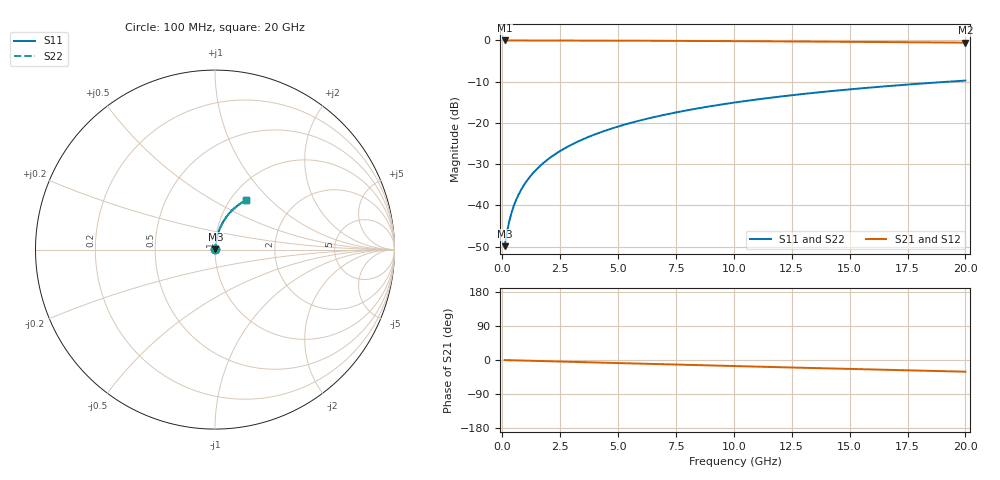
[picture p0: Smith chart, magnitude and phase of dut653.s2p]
! Touchstone file exported from HFSS 2026.1.0
!  File:  C:/ffzhzh/LocalFiles/Ansys_Project_Files/temp_train_BSMRDL_653_1783017001_53980.aedt
!  Generated:  02:31:41 AM Jul  3, 2026
!  Design:  BSMRDL
!  Project:  temp_train_BSMRDL_653_1783017001_53980
! Variables:
!  h_bsmrdl = 2.58um
!  h_ox = 20um
!  h_rdl = 5um
!  h_sub = 80um
!  h_tmrdl = 5um
!  h_tsv = 80um
!  h_via = 3um
!  l_bsmrdl = 389.87um
!  l_sub = 789.87um
!  l_tmrdl = 200um
!  m_sub = 200um
!  pitch = 57.14um
!  r_tsv = 6um
!  s_tmrdl = 10um
!  w_bsmrdl = 24um
!  w_sub = 500um
!  w_tmrdl = 12um
!  x_tsv_center1 = 206um
!  x_tsv_center2 = 619.87um
!  x_tsv_center3 = 831.87um
!  x_tsv_center4 = 1245.74um
!  x_tsv_center5 = 1457.74um
!  x_tsv_center6 = 1871.61um
# GHz S MA R 50.000000
! Terminal data exported
! Port[1] = BSM_RDL1_1_T1
! Port[2] = BSM_RDL1_1_T2
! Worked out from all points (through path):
!   200 points, 100 MHz to 20 GHz, reference 50 ohm
!   highest |S21| = -0.02 dB at 100 MHz (marker M1); lowest = -0.6 dB at 20 GHz (marker M2)
!   group delay of S21, straight-line fit = 4.29 ps
!   lowest |S11| = -49.9 dB at 100 MHz (marker M3), VSWR 1.01, Z = 50.3 + j0.197 ohm
!   |S11| at or under -10 dB: start of sweep to 19.3 GHz
!   |S22| runs from -49.9 to -9.7 dB; largest |S21 - S12| = 3.4e-15
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0.1  0.003206 37.8  0.9975 -0.2  0.9975 -0.2  0.003206 37.8
! Gamma 0 0 0 0
! Port Impedance 50 0 50 0
0.2  0.004701 56.0  0.9974 -0.3  0.9974 -0.3  0.004701 56.0
0.3  0.006411 64.5  0.9973 -0.5  0.9973 -0.5  0.006411 64.5
0.4  0.008171 69.2  0.9972 -0.7  0.9972 -0.7  0.008171 69.2
0.5  0.009939 72.2  0.9971 -0.8  0.9971 -0.8  0.009939 72.2
0.6  0.01171 74.3  0.997 -1.0  0.997 -1.0  0.01171 74.3
0.8  0.01524 77.0  0.9968 -1.3  0.9968 -1.3  0.01524 77.0
1.1  0.02057 79.2  0.9966 -1.8  0.9966 -1.8  0.02057 79.2
1.3  0.02413 80.1  0.9965 -2.1  0.9965 -2.1  0.02413 80.1
1.6  0.0295 80.9  0.9963 -2.6  0.9963 -2.6  0.0295 80.9
2.1  0.03847 81.5  0.9959 -3.4  0.9959 -3.4  0.03847 81.5
2.7  0.04924 81.5  0.9953 -4.4  0.9953 -4.4  0.04924 81.5
3.5  0.06358 81.0  0.9944 -5.7  0.9944 -5.7  0.06358 81.0
4.2  0.07608 80.3  0.9933 -6.8  0.9933 -6.8  0.07608 80.4
5  0.09027 79.4  0.992 -8.1  0.992 -8.1  0.09027 79.4
5.9  0.1061 78.2  0.9902 -9.5  0.9902 -9.5  0.1061 78.2
6.8  0.1218 77.0  0.9881 -11.0  0.9881 -11.0  0.1218 77.0
8.3  0.1475 74.8  0.9842 -13.3  0.9842 -13.3  0.1475 74.8
10.1  0.1776 72.1  0.9788 -16.1  0.9788 -16.1  0.1776 72.1
13.4  0.2305 67.3  0.9669 -21.2  0.9669 -21.2  0.2305 67.3
16.7  0.2799 62.5  0.9531 -26.1  0.9531 -26.1  0.2799 62.5
20  0.3256 57.8  0.938 -30.8  0.938 -30.8  0.3256 57.9
